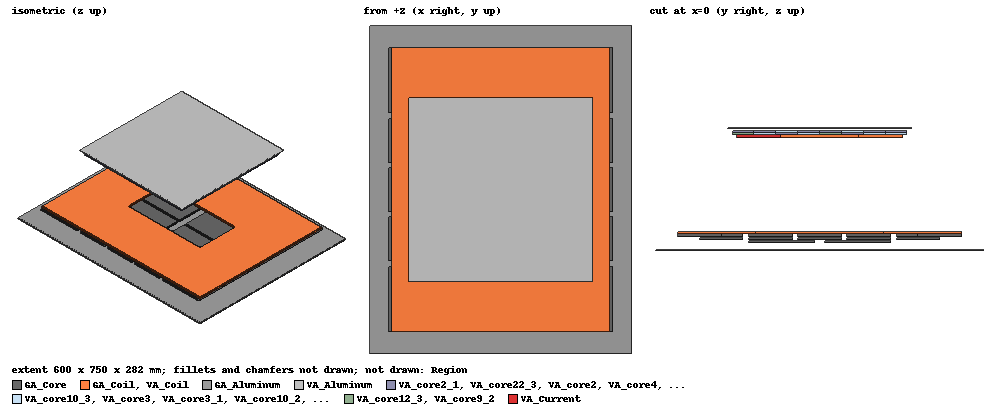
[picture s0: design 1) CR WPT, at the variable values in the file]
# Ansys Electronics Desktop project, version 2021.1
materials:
  aluminum: permeability=1.000021 conductivity=38000000
  copper: permeability=0.999991 conductivity=58000000
  ferrite: permittivity=12 permeability=2000 conductivity=0.01 magnetic_loss_tangent=0.05 core_loss_type="Power Ferrite" core_loss_cm=2 core_loss_x=1.75 core_loss_y=3.5 mass_density=4600
  vacuum: permittivity=1

design 1) CR WPT (Maxwell 3D, EddyCurrent, model units mm)
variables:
  a_bt = 72.4mm
  b_bt = 150mm
  d_bt = 11.7mm
  a_btmm = 72.4mm
  Hferrite_bt = 5mm
  Xcoiltotal_bt = 500mm
  Ycoiltotal_bt = 650mm
  line_bt = 5mm
  y_bt = 100mm
  z_bt = 2.5mm
  w_bt = 50mm
  x_bt = 12.5mm
  Xfetotal_bt = 510mm
  Xhous_bt = 600mm
  Yhous_bt = 750mm
  Hhous_bt = 21mm
  I1 = 96.3A
  I2 = 21.55A
  line2_Vs = line_Vs-Ldia_Vs-Linter_Vs
  interval_Vs = 180mm
  LITZTRAY_Vs = 420mm
  Ldia_Vs = 5mm
  Htray_Vs = 6.4mm
  line_Vs = 162.86mm
  Linter_Vs = 8.57mm
  Yferrite_Vs = 100mm
  Xferrite_Vs = 133.5mm
  Zferrite_Vs = 5mm
  Zalu_Vs = 2mm
  Hhous_Vs = 20mm
  Xalu_Vs = 420mm
  Yalu_Vs = 420mm
  dz = 220mm
  dx = 0mm
  dy = 0mm
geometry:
  GA_Core [ferrite] = box(corner=(-Xfetotal_bt/2, -Ycoiltotal_bt/2, -line_bt/2-1mm), size=(100mm, 150mm, -Hferrite_bt))
  Box2_1 = GA_Core.duplicate_mirror(point=(0mm, 0mm, 0mm), normal=(0mm, 1mm, 0mm))
  Box2_2 = GA_Core.duplicate_mirror(point=(0mm, 0mm, 0mm), normal=(1mm, 0mm, 0mm))
  Box2_1_1 = Box2_1.duplicate_mirror(point=(0mm, 0mm, 0mm), normal=(1mm, 0mm, 0mm))
  Box3 = box(corner=(-Xfetotal_bt/2, -Ycoiltotal_bt/2+150mm+x_bt, -line_bt/2-1mm), size=(w_bt*2, y_bt, -Hferrite_bt))
  Box3_1, Box3_2 = Box3.duplicate_along_line(step=(0mm, x_bt+y_bt, 0mm), total=3)
  Box3_3 = Box3.duplicate_mirror(point=(0mm, 0mm, 0mm), normal=(1mm, 0mm, 0mm))
  Box3_4 = Box3.duplicate_along_line(step=(w_bt, 0, -2.5mm-Hferrite_bt), total=2)
  Box4 = box(corner=(-Xfetotal_bt/2+100mm+z_bt, -Ycoiltotal_bt/2, -line_bt/2-1mm), size=(y_bt, w_bt*2, -Hferrite_bt))
  Box4_1, Box4_2 = Box4.duplicate_along_line(step=(y_bt+z_bt, 0mm, 0mm), total=3)
  Box4_3 = Box4.duplicate_mirror(point=(0mm, 0mm, 0mm), normal=(0mm, 1mm, 0mm))
  Box4_4 = Box4.duplicate_along_line(step=(0mm, w_bt, -2.5mm-Hferrite_bt), total=2)
  Box4_1_1 = Box4_1.duplicate_mirror(point=(0mm, 0mm, 0mm), normal=(0mm, 1mm, 0mm))
  Box4_1_2 = Box4_1.duplicate_along_line(step=(0mm, w_bt, -2.5mm-Hferrite_bt), total=2)
  Box4_2_1 = Box4_2.duplicate_mirror(point=(0mm, 0mm, 0mm), normal=(0mm, 1mm, 0mm))
  Box4_2_2 = Box4_2.duplicate_along_line(step=(0mm, w_bt, -2.5mm-Hferrite_bt), total=2)
  Box4_4_1 = Box4_4.duplicate_mirror(point=(0mm, 0mm, 0mm), normal=(0mm, 1mm, 0mm))
  Box4_1_2_1 = Box4_1_2.duplicate_mirror(point=(0mm, 0mm, 0mm), normal=(0mm, 1mm, 0mm))
  Box4_2_2_1 = Box4_2_2.duplicate_mirror(point=(0mm, 0mm, 0mm), normal=(0mm, 1mm, 0mm))
  Box3_1_1 = Box3_1.duplicate_mirror(point=(0mm, 0mm, 0mm), normal=(1mm, 0mm, 0mm))
  Box3_1_2 = Box3_1.duplicate_along_line(step=(w_bt, 0, -2.5mm-Hferrite_bt), total=2)
  Box3_2_1 = Box3_2.duplicate_mirror(point=(0mm, 0mm, 0mm), normal=(1mm, 0mm, 0mm))
  Box3_2_2 = Box3_2.duplicate_along_line(step=(w_bt, 0, -2.5mm-Hferrite_bt), total=2)
  Box5 = box(corner=(-Xfetotal_bt/2+w_bt, -Ycoiltotal_bt/2+w_bt, -line_bt/2-1mm-Hferrite_bt-2.5mm), size=(w_bt, y_bt, -Hferrite_bt))
  Box5_1 = Box5.duplicate_mirror(point=(0mm, 0mm, 0mm), normal=(0mm, 1mm, 0mm))
  Box5_2 = Box5.duplicate_mirror(point=(0mm, 0mm, 0mm), normal=(1mm, 0mm, 0mm))
  Box5_1_1 = Box5_1.duplicate_mirror(point=(0mm, 0mm, 0mm), normal=(1mm, 0mm, 0mm))
  Box3_1_2_1 = Box3_1_2.duplicate_mirror(point=(0mm, 0mm, 0mm), normal=(1mm, 0mm, 0mm))
  Box3_4_1 = Box3_4.duplicate_mirror(point=(0mm, 0mm, 0mm), normal=(1mm, 0mm, 0mm))
  Box3_2_2_1 = Box3_2_2.duplicate_mirror(point=(0mm, 0mm, 0mm), normal=(1mm, 0mm, 0mm))
  Box6 = box(corner=(-Xfetotal_bt/2+w_bt*3+z_bt, -Ycoiltotal_bt/2+150mm+x_bt, -line_bt/2-1mm-(Hferrite_bt+2.5mm)*2), size=(100mm, 150mm, -Hferrite_bt))
  Box6_1 = Box6.duplicate_mirror(point=(0mm, 0mm, 0mm), normal=(0mm, 1mm, 0mm))
  Box6_2 = Box6.duplicate_mirror(point=(0mm, 0mm, 0mm), normal=(1mm, 0mm, 0mm))
  Box6_1_1 = Box6_1.duplicate_mirror(point=(0mm, 0mm, 0mm), normal=(1mm, 0mm, 0mm))
  GA_Aluminum [aluminum] = box(corner=(-Xhous_bt/2, -Yhous_bt/2, -42mm), size=(Xhous_bt, Yhous_bt, 3mm))
  VA_Aluminum [aluminum] = box(corner=(-Xalu_Vs/2, -Yalu_Vs/2, Hhous_Vs), size=(Xalu_Vs, Yalu_Vs, -Zalu_Vs))
  VA_Aluminum.move(dx, dy, dz)
  GA_Core.unite(Box2_1, Box2_1_1, Box2_2, Box3, Box3_1, Box3_1_1, Box3_1_2, Box3_1_2_1, Box3_2, Box3_2_1, Box3_2_2, Box3_2_2_1, Box3_3, Box3_4, Box3_4_1, Box4, Box4_1, Box4_1_1, Box4_1_2, Box4_1_2_1, Box4_2, Box4_2_1, Box4_2_2, Box4_2_2_1, Box4_3, Box4_4, Box4_4_1, Box5, Box5_1, Box5_1_1, Box5_2, Box6, Box6_1, Box6_1_1, Box6_2)
  Region [vacuum] = region(percentage_offset: +X=60, -X=60, +Y=60, -Y=60, +Z=130, -Z=130)
  GA_Coil [copper] = box(corner=(-250mm, -325mm, -2.5mm), size=(500mm, 650mm, 5mm))
  GA_Coil.fillet(Edges=GA_Coil.edge(12 of 12, 11 of 12, 9 of 12, 10 of 12) Radius=70mm Setback=0mm)
  Box32 = box(corner=(-a_bt, -a_bt-b_bt/2, -2.5mm), size=(a_bt*2, (a_bt+b_bt/2)*2, 5mm))
  Box32.fillet(Edges=Box32.edge(10 of 12, 12 of 12, 11 of 12, 9 of 12) Radius=70mm Setback=0mm)
  GA_Coil.subtract(Box32)
  VA_Coil [copper] = box(corner=(dx-190mm, dy-190mm, dz-2.5mm), size=(380mm, 380mm, 5mm))
  Box34 = box(corner=(dx-90mm, dy-90mm, dz-2.5 mm), size=(180mm, 180mm, 5mm))
  VA_Coil.fillet(Edges=VA_Coil.edge(10 of 12, 12 of 12, 11 of 12, 9 of 12) Radius=110mm Setback=0mm)
  Box34.fillet(Edges=Box34.edge(10 of 12, 12 of 12, 11 of 12, 9 of 12) Radius=8mm Setback=0mm)
  VA_Coil.subtract(Box34)
  VA_Current = rectangle(corner=(dx-0mm, dy-190mm, dz-2.5mm), y_size=100mm, z_size=5mm)
  GA_Current = rectangle(corner=(-250mm, 0mm, -2.5mm), z_size=5mm, x_size=177.6mm)
  VA_core1 [ferrite] = box(corner=(133.5mm+dx, -200mm+dy, 3.5mm+dz), size=(66.75mm, 50mm, 5mm))
  VA_core2 [ferrite] = box(corner=(133.5mm+dx, -150mm+dy, 3.5mm+dz), size=(66.75mm, 50mm, 5mm))
  VA_core4 [ferrite] = box(corner=(133.5mm+dx, -50mm+dy, 3.5mm+dz), size=(66.75mm, 50mm, 5mm))
  VA_core5 [ferrite] = box(corner=(66.75mm+dx, -200mm+dy, 3.5mm+dz), size=(66.75mm, 50mm, 5mm))
  VA_core6 [vacuum] = box(corner=(66.75mm+dx, -150mm+dy, 3.5mm+dz), size=(66.75mm, 50mm, 5mm))
  VA_core7 [vacuum] = box(corner=(66.75mm+dx, -100mm+dy, 3.5mm+dz), size=(66.75mm, 50mm, 5mm))
  VA_core8 [vacuum] = box(corner=(66.75mm+dx, -50mm+dy, 3.5mm+dz), size=(66.75mm, 50mm, 5mm))
  VA_core9 [vacuum] = box(corner=(0mm+dx, -200mm+dy, 3.5mm+dz), size=(66.75mm, 50mm, 5mm))
  VA_core10 [vacuum] = box(corner=(0mm+dx, -150mm+dy, 3.5mm+dz), size=(66.75mm, 50mm, 5mm))
  VA_core11 [ferrite] = box(corner=(0mm+dx, -100mm+dy, 3.5mm+dz), size=(66.75mm, 50mm, 5mm))
  VA_core12 [vacuum] = box(corner=(0mm+dx, -50mm+dy, 3.5mm+dz), size=(66.75mm, 50mm, 5mm))
  VA_core13 [ferrite] = box(corner=(133.5mm+dx, -200mm+dy, 8.5mm+dz), size=(66.75mm, 50mm, 5mm))
  VA_core14 [ferrite] = box(corner=(133.5mm+dx, -150mm+dy, 8.5mm+dz), size=(66.75mm, 50mm, 5mm))
  VA_core15 [vacuum] = box(corner=(133.5mm+dx, -100mm+dy, 8.5mm+dz), size=(66.75mm, 50mm, 5mm))
  VA_core16 [ferrite] = box(corner=(133.5mm+dx, -50mm+dy, 8.5mm+dz), size=(66.75mm, 50mm, 5mm))
  VA_core18 [ferrite] = box(corner=(66.75mm+dx, -150mm+dy, 8.5mm+dz), size=(66.75mm, 50mm, 5mm))
  VA_core19 [vacuum] = box(corner=(66.75mm+dx, -100mm+dy, 8.5mm+dz), size=(66.75mm, 50mm, 5mm))
  VA_core20 [vacuum] = box(corner=(66.75mm+dx, -50mm+dy, 8.5mm+dz), size=(66.75mm, 50mm, 5mm))
  VA_core21 [ferrite] = box(corner=(0mm+dx, -200mm+dy, 8.5mm+dz), size=(66.75mm, 50mm, 5mm))
  VA_core22 [ferrite] = box(corner=(0mm+dx, -150mm+dy, 8.5mm+dz), size=(66.75mm, 50mm, 5mm))
  VA_core23 [vacuum] = box(corner=(0mm+dx, -100mm+dy, 8.5mm+dz), size=(66.75mm, 50mm, 5mm))
  VA_core24 [ferrite] = box(corner=(0mm+dx, -50mm+dy, 8.5mm+dz), size=(66.75mm, 50mm, 5mm))
  VA_core3 [vacuum] = box(corner=(133.5mm+dx, -100mm+dy, 3.5mm+dz), size=(66.75mm, 50mm, 5mm))
  VA_core17 [vacuum] = box(corner=(66.75mm+dx, -200mm+dy, 8.5mm+dz), size=(66.75mm, 50mm, 5mm))
  VA_core4_1 [ferrite] = VA_core1.duplicate_along_line(step=(0mm, 200mm, 0mm), total=2)
  VA_core3_1 [vacuum] = VA_core2.duplicate_along_line(step=(0mm, 200mm, 0mm), total=2)
  VA_core2_1 [ferrite] = VA_core3.duplicate_along_line(step=(0mm, 200mm, 0mm), total=2)
  VA_core1_1 [ferrite] = VA_core4.duplicate_along_line(step=(0mm, 200mm, 0mm), total=2)
  VA_core8_1 [vacuum] = VA_core5.duplicate_along_line(step=(0mm, 200mm, 0mm), total=2)
  VA_core7_1 [vacuum] = VA_core6.duplicate_along_line(step=(0mm, 200mm, 0mm), total=2)
  VA_core6_1 [vacuum] = VA_core7.duplicate_along_line(step=(0mm, 200mm, 0mm), total=2)
  VA_core5_1 [ferrite] = VA_core8.duplicate_along_line(step=(0mm, 200mm, 0mm), total=2)
  VA_core12_1 [vacuum] = VA_core9.duplicate_along_line(step=(0mm, 200mm, 0mm), total=2)
  VA_core11_1 [ferrite] = VA_core10.duplicate_along_line(step=(0mm, 200mm, 0mm), total=2)
  VA_core10_1 [vacuum] = VA_core11.duplicate_along_line(step=(0mm, 200mm, 0mm), total=2)
  VA_core9_1 [vacuum] = VA_core12.duplicate_along_line(step=(0mm, 200mm, 0mm), total=2)
  VA_core16_1 [ferrite] = VA_core13.duplicate_along_line(step=(0mm, 200mm, 0mm), total=2)
  VA_core15_1 [vacuum] = VA_core14.duplicate_along_line(step=(0mm, 200mm, 0mm), total=2)
  VA_core14_1 [ferrite] = VA_core15.duplicate_along_line(step=(0mm, 200mm, 0mm), total=2)
  VA_core13_1 [ferrite] = VA_core16.duplicate_along_line(step=(0mm, 200mm, 0mm), total=2)
  VA_core20_1 [vacuum] = VA_core17.duplicate_along_line(step=(0mm, 200mm, 0mm), total=2)
  VA_core19_1 [vacuum] = VA_core18.duplicate_along_line(step=(0mm, 200mm, 0mm), total=2)
  VA_core18_1 [ferrite] = VA_core19.duplicate_along_line(step=(0mm, 200mm, 0mm), total=2)
  VA_core17_1 [vacuum] = VA_core20.duplicate_along_line(step=(0mm, 200mm, 0mm), total=2)
  VA_core23_1 [vacuum] = VA_core22.duplicate_along_line(step=(0mm, 200mm, 0mm), total=2)
  VA_core22_1 [ferrite] = VA_core23.duplicate_along_line(step=(0mm, 200mm, 0mm), total=2)
  VA_core24_1 [ferrite] = VA_core24.duplicate_along_line(step=(0mm, 50mm, 0mm), total=2)
  VA_core21_1 [ferrite] = VA_core21.duplicate_along_line(step=(0mm, 350mm, 0mm), total=2)
  VA_core9_2 [vacuum] = VA_core4_1.duplicate_along_line(step=(-200.25mm, -200mm, 0mm), total=2)
  VA_core10_2 [vacuum] = VA_core3_1.duplicate_along_line(step=(-200.25mm, -200mm, 0mm), total=2)
  VA_core11_2 [ferrite] = VA_core2_1.duplicate_along_line(step=(-200.25mm, -200mm, 0mm), total=2)
  VA_core12_2 [vacuum] = VA_core1_1.duplicate_along_line(step=(-200.25mm, -200mm, 0mm), total=2)
  VA_core5_2 [ferrite] = VA_core8_1.duplicate_along_line(step=(-200.25mm, -200mm, 0mm), total=2)
  VA_core6_2 [vacuum] = VA_core7_1.duplicate_along_line(step=(-200.25mm, -200mm, 0mm), total=2)
  VA_core7_2 [vacuum] = VA_core6_1.duplicate_along_line(step=(-200.25mm, -200mm, 0mm), total=2)
  VA_core8_2 [vacuum] = VA_core5_1.duplicate_along_line(step=(-200.25mm, -200mm, 0mm), total=2)
  VA_core1_2 [ferrite] = VA_core12_1.duplicate_along_line(step=(-200.25mm, -200mm, 0mm), total=2)
  VA_core2_2 [ferrite] = VA_core11_1.duplicate_along_line(step=(-200.25mm, -200mm, 0mm), total=2)
  VA_core3_2 [vacuum] = VA_core10_1.duplicate_along_line(step=(-200.25mm, -200mm, 0mm), total=2)
  VA_core4_2 [ferrite] = VA_core9_1.duplicate_along_line(step=(-200.25mm, -200mm, 0mm), total=2)
  VA_core21_2 [ferrite] = VA_core16_1.duplicate_along_line(step=(-200.25mm, -200mm, 0mm), total=2)
  VA_core22_2 [ferrite] = VA_core15_1.duplicate_along_line(step=(-200.25mm, -200mm, 0mm), total=2)
  VA_core23_2 [vacuum] = VA_core14_1.duplicate_along_line(step=(-200.25mm, -200mm, 0mm), total=2)
  VA_core24_2 [ferrite] = VA_core13_1.duplicate_along_line(step=(-200.25mm, -200mm, 0mm), total=2)
  VA_core17_2 [vacuum] = VA_core20_1.duplicate_along_line(step=(-200.25mm, -200mm, 0mm), total=2)
  VA_core18_2 [ferrite] = VA_core19_1.duplicate_along_line(step=(-200.25mm, -200mm, 0mm), total=2)
  VA_core19_2 [vacuum] = VA_core18_1.duplicate_along_line(step=(-200.25mm, -200mm, 0mm), total=2)
  VA_core20_2 [vacuum] = VA_core17_1.duplicate_along_line(step=(-200.25mm, -200mm, 0mm), total=2)
  VA_core14_2 [ferrite] = VA_core23_1.duplicate_along_line(step=(-200.25mm, -200mm, 0mm), total=2)
  VA_core15_2 [vacuum] = VA_core22_1.duplicate_along_line(step=(-200.25mm, -200mm, 0mm), total=2)
  VA_core13_2 [ferrite] = VA_core24_1.duplicate_along_line(step=(-200.25mm, -200mm, 0mm), total=2)
  VA_core16_2 [ferrite] = VA_core21_1.duplicate_along_line(step=(-200.25mm, -200mm, 0mm), total=2)
  VA_core12_3 [vacuum] = VA_core4_1.duplicate_along_line(step=(-200.25mm, 0mm, 0mm), total=2)
  VA_core11_3 [ferrite] = VA_core3_1.duplicate_along_line(step=(-200.25mm, 0mm, 0mm), total=2)
  VA_core10_3 [vacuum] = VA_core2_1.duplicate_along_line(step=(-200.25mm, 0mm, 0mm), total=2)
  VA_core9_3 [vacuum] = VA_core1_1.duplicate_along_line(step=(-200.25mm, 0mm, 0mm), total=2)
  VA_core8_3 [vacuum] = VA_core8_1.duplicate_along_line(step=(-200.25mm, 0mm, 0mm), total=2)
  VA_core7_3 [vacuum] = VA_core7_1.duplicate_along_line(step=(-200.25mm, 0mm, 0mm), total=2)
  VA_core6_3 [vacuum] = VA_core6_1.duplicate_along_line(step=(-200.25mm, 0mm, 0mm), total=2)
  VA_core5_3 [ferrite] = VA_core5_1.duplicate_along_line(step=(-200.25mm, 0mm, 0mm), total=2)
  VA_core4_3 [ferrite] = VA_core12_1.duplicate_along_line(step=(-200.25mm, 0mm, 0mm), total=2)
  VA_core3_3 [vacuum] = VA_core11_1.duplicate_along_line(step=(-200.25mm, 0mm, 0mm), total=2)
  VA_core2_3 [ferrite] = VA_core10_1.duplicate_along_line(step=(-200.25mm, 0mm, 0mm), total=2)
  VA_core1_3 [ferrite] = VA_core9_1.duplicate_along_line(step=(-200.25mm, 0mm, 0mm), total=2)
  VA_core24_3 [ferrite] = VA_core16_1.duplicate_along_line(step=(-200.25mm, 0mm, 0mm), total=2)
  VA_core23_3 [vacuum] = VA_core15_1.duplicate_along_line(step=(-200.25mm, 0mm, 0mm), total=2)
  VA_core22_3 [ferrite] = VA_core14_1.duplicate_along_line(step=(-200.25mm, 0mm, 0mm), total=2)
  VA_core21_3 [ferrite] = VA_core13_1.duplicate_along_line(step=(-200.25mm, 0mm, 0mm), total=2)
  VA_core20_3 [vacuum] = VA_core20_1.duplicate_along_line(step=(-200.25mm, 0mm, 0mm), total=2)
  VA_core19_3 [vacuum] = VA_core19_1.duplicate_along_line(step=(-200.25mm, 0mm, 0mm), total=2)
  VA_core18_3 [ferrite] = VA_core18_1.duplicate_along_line(step=(-200.25mm, 0mm, 0mm), total=2)
  VA_core17_3 [vacuum] = VA_core17_1.duplicate_along_line(step=(-200.25mm, 0mm, 0mm), total=2)
  VA_core15_3 [vacuum] = VA_core23_1.duplicate_along_line(step=(-200.25mm, 0mm, 0mm), total=2)
  VA_core14_3 [ferrite] = VA_core22_1.duplicate_along_line(step=(-200.25mm, 0mm, 0mm), total=2)
  VA_core16_3 [ferrite] = VA_core24_1.duplicate_along_line(step=(-200.25mm, 0mm, 0mm), total=2)
  VA_core13_3 [ferrite] = VA_core21_1.duplicate_along_line(step=(-200.25mm, 0mm, 0mm), total=2)
  group GA = GA_Core, GA_Aluminum, GA_Coil
  group VA = VA_Aluminum, VA_Coil, VA_core1, VA_core2, VA_core4..VA_core16, VA_core18..VA_core24, VA_core3, VA_core17, VA_core4_1, VA_core3_1, VA_core2_1, VA_core1_1, VA_core8_1, VA_core7_1, VA_core6_1, VA_core5_1, VA_core12_1, VA_core11_1, VA_core10_1, VA_core9_1, VA_core16_1, VA_core15_1, VA_core14_1, VA_core13_1, VA_core20_1, VA_core19_1, VA_core18_1, VA_core17_1, VA_core23_1, VA_core22_1, VA_core24_1, VA_core21_1, VA_core9_2, VA_core10_2, VA_core11_2, VA_core12_2, VA_core5_2, VA_core6_2, VA_core7_2, VA_core8_2, VA_core1_2, VA_core2_2, VA_core3_2, VA_core4_2, VA_core21_2, VA_core22_2, VA_core23_2, VA_core24_2, VA_core17_2, VA_core18_2, VA_core19_2, VA_core20_2, VA_core14_2, VA_core15_2, VA_core13_2, VA_core16_2, VA_core12_3, VA_core11_3, VA_core10_3, VA_core9_3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
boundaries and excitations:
  Insulating1: Insulating Objects=GA_Core
  ZeroTangentialHField1: Zero Tangential H Field Faces=Region.face(all 6)
  VA: Current Objects=VA_Current Phase=90deg Current=i2 IsSolid=false Point_out_of_terminal=false
  GA: Current Objects=GA_Current Phase=0deg Current=i2 IsSolid=false Point_out_of_terminal=false
  eddy effects on: GA_Aluminum, VA_Aluminum
  core loss on: GA_Core
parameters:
  Matrix1: Matrix GA, VA:
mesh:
  Length1: LengthBased Faces=GA_Coil.face(+z) VA_Coil.face(+z) MaxLength=20mm
  initial mesh: GlobalCurvilinear{Apply}
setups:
  Setup1: EddyCurrent MaximumPasses=10 MinimumPasses=2 MinimumConvergedPasses=1 PercentRefinement=30 PercentError=1 NonLinearResidual=0.0001 Frequency=85kHz
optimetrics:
  Misalignment: Parametric Sim._Setups=[Setup1]
    sweep dx: 75mm
    sweep dy: 100mm
    sweep dz: 220mm
  Alignment: Parametric Sim._Setups=[Setup1]
    sweep dx: 0mm
    sweep dy: 0mm
    sweep dz: 150mm
